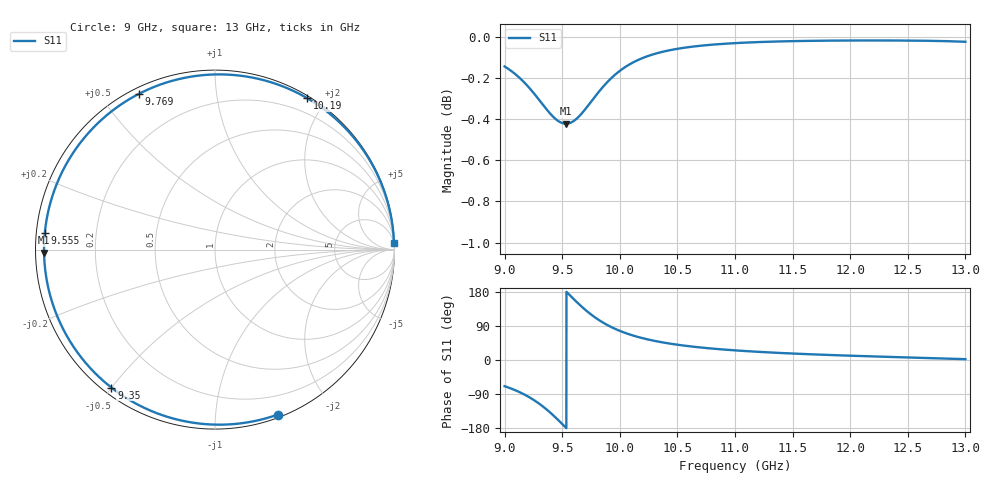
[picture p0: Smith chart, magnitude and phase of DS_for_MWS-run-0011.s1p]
! TOUCHSTONE file generated by CST DESIGN STUDIO
! Date and time: Tue Feb  4 13:17:49 2025
! Project name: C:\Work\MatlabApps\UnitCellOptimizationMatlab\CST\unitcell.cst
! Tree item: Tasks\Sweep1\SPara1\S-Parameters
! Header version: 2024
! Port assignment regex: !\s*Touchstone port\s*([0-9]+)\s*=\s*(CST MWS port|CST DES external port|CST DES block port)\s*(.+)\s* \(\"(.*)\"\)(\s*mode\s*([0-9]+))?.*
! Touchstone port assignment:
! Touchstone port 1 = CST DES external port 1 ("")
# GHz S MA R 50
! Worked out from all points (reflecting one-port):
!   4001 points, 9 GHz to 13 GHz, reference 50 ohm
!   lowest |S11| = -0.4 dB at 9.533 GHz (marker M1), VSWR 41.15, Z = 1.22 - j0.464 ohm
!   phase of S11 starts at -69 deg and turns -289 deg over the sweep
!   S11 on the Smith chart (normalised r, x): 9 GHz: 0.03, -1.45; 9.35 GHz: 0.02, -0.50; 9.555 GHz: 0.02, +0.05; 9.769 GHz: 0.02, +0.63; 10.19 GHz: 0.03, +1.78; 13 GHz: 4, +52
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9  0.9835 -69.1
9.1  0.9789 -80.7
9.208  0.9723 -97.1
9.283  0.9666 -111.6
9.35  0.9613 -126.9
9.421  0.9563 -145.6
9.462  0.9541 -157.4
9.5  0.9529 -168.8
9.533  0.9525 -178.9
9.555  0.9527 174.3
9.608  0.9543 158.3
9.668  0.9579 141.1
9.718  0.9617 128.0
9.769  0.9658 115.9
9.817  0.9696 105.8
9.87  0.9735 95.9
9.935  0.9777 85.6
10  0.9811 76.9
10.088  0.9848 67.1
10.185  0.9879 58.6
10.329  0.991 48.8
10.5  0.9933 40.3
10.721  0.9951 32.4
11  0.9965 25.4
11.5  0.9976 17.1
12  0.9979 11.3
12.5  0.9979 6.7
13  0.9972 2.2
